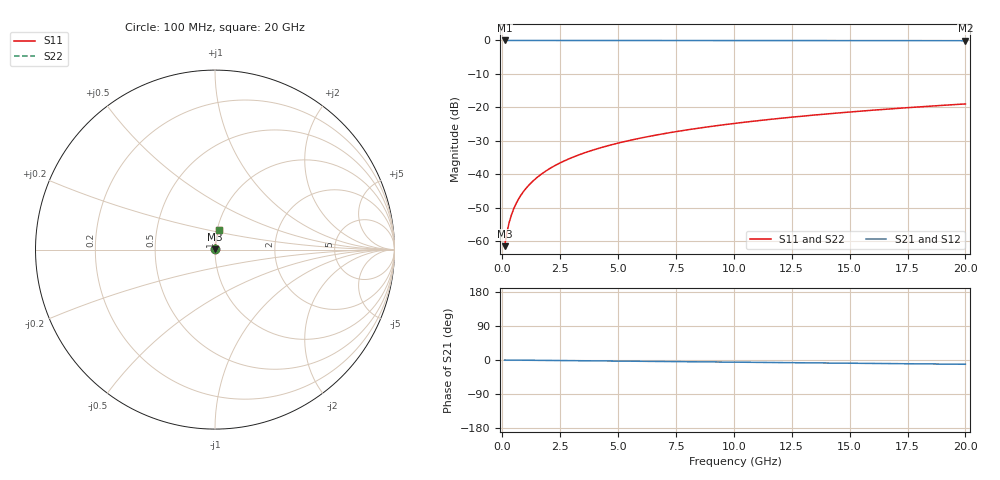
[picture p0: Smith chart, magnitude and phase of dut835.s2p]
! Touchstone file exported from HFSS 2026.1.0
!  File:  C:/ffzhzh/LocalFiles/Ansys_Project_Files/temp_train_TSV_835_1783184802_18472.aedt
!  Generated:  01:09:07 AM Jul  5, 2026
!  Design:  TSV
!  Project:  temp_train_TSV_835_1783184802_18472
! Variables:
!  h_bsmrdl = 2um
!  h_ox = 20um
!  h_rdl = 5um
!  h_sub = 89.72um
!  h_tmrdl = 5um
!  h_tsv = 89.72um
!  h_via = 3um
!  l_bsmrdl = 300um
!  l_sub = 408.62um
!  l_tmrdl = 200um
!  m_sub = 200um
!  pitch = 49.92um
!  r_tsv = 4.31um
!  s_tmrdl = 10um
!  w_bsmrdl = 18um
!  w_sub = 500um
!  w_tmrdl = 12um
!  x_tsv_center1 = 206um
!  x_tsv_center2 = 524um
!  x_tsv_center3 = 736um
!  x_tsv_center4 = 1054um
!  x_tsv_center5 = 1266um
!  x_tsv_center6 = 1584um
# GHz S MA R 50.000000
! Terminal data exported
! Port[1] = TSV1_1_T1
! Port[2] = TSV1_1_T2
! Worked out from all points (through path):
!   200 points, 100 MHz to 20 GHz, reference 50 ohm
!   highest |S21| = -0.01 dB at 100 MHz (marker M1); lowest = -0.1 dB at 20 GHz (marker M2)
!   group delay of S21, straight-line fit = 1.56 ps
!   lowest |S11| = -61.5 dB at 100 MHz (marker M3), VSWR 1.00, Z = 50.1 + j0.061 ohm
!   |S11| at or under -10 dB: start of sweep to end of sweep
!   |S22| runs from -61.5 to -19.0 dB; largest |S21 - S12| = 4.2e-15
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0.1  0.0008414 46.4  0.9994 -0.1  0.9994 -0.1  0.0008414 46.4
! Gamma 0 0 0 0
! Port Impedance 50 0 50 0
0.2  0.001352 64.1  0.9994 -0.1  0.9994 -0.1  0.001352 64.1
0.3  0.001917 71.6  0.9994 -0.2  0.9994 -0.2  0.001917 71.6
0.4  0.002496 75.5  0.9994 -0.2  0.9994 -0.2  0.002496 75.5
0.5  0.003079 77.9  0.9994 -0.3  0.9994 -0.3  0.003079 77.9
0.7  0.00425 80.8  0.9993 -0.4  0.9993 -0.4  0.00425 80.8
0.8  0.004836 81.6  0.9993 -0.5  0.9993 -0.5  0.004836 81.6
1  0.00601 82.9  0.9993 -0.6  0.9993 -0.6  0.00601 82.9
1.2  0.007185 83.6  0.9993 -0.7  0.9993 -0.7  0.007185 83.6
1.4  0.008359 84.2  0.9992 -0.8  0.9992 -0.8  0.008359 84.2
1.7  0.01012 84.6  0.9992 -1.0  0.9992 -1.0  0.01012 84.6
2  0.01188 84.9  0.9991 -1.2  0.9991 -1.2  0.01188 84.9
2.7  0.01596 85.1  0.9989 -1.6  0.9989 -1.6  0.01596 85.1
3.5  0.0206 85.1  0.9987 -2.0  0.9987 -2.0  0.0206 85.1
4.2  0.02463 84.9  0.9985 -2.4  0.9985 -2.4  0.02463 84.9
5  0.0292 84.6  0.9983 -2.9  0.9983 -2.9  0.0292 84.6
6.8  0.0394 83.8  0.9977 -3.9  0.9977 -3.9  0.0394 83.8
8.3  0.04785 83.2  0.9971 -4.7  0.9971 -4.7  0.04785 83.2
10.1  0.05793 82.4  0.9964 -5.7  0.9964 -5.7  0.05793 82.4
13.4  0.0763 80.8  0.9949 -7.6  0.9949 -7.6  0.0763 80.8
16.7  0.09449 79.1  0.9931 -9.4  0.9931 -9.4  0.09449 79.1
20  0.1125 77.4  0.991 -11.3  0.991 -11.3  0.1125 77.4
